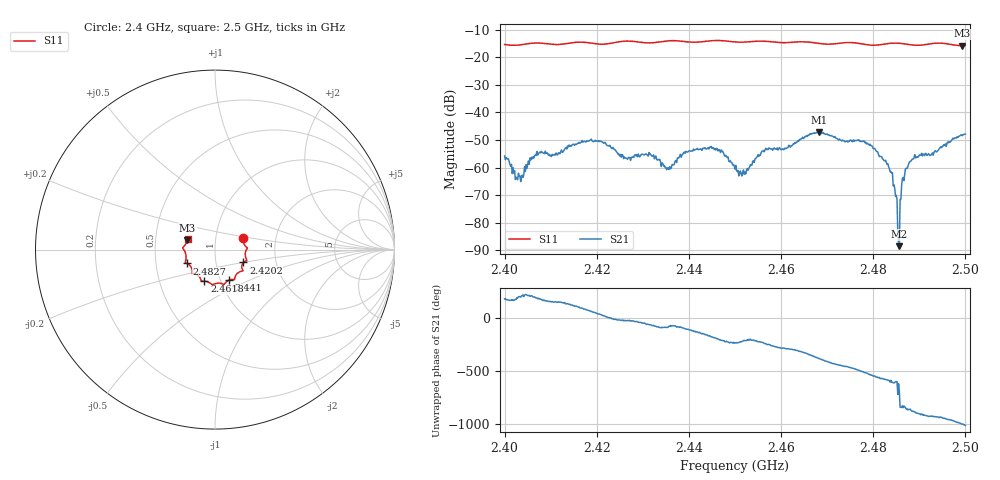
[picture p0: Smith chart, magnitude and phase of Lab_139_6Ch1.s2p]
# Hz S RI R 50
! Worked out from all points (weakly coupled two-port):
!   601 points, 2.4 GHz to 2.5 GHz, reference 50 ohm
!   highest |S21| = -47.11 dB at 2.4683 GHz (marker M1); lowest = -88.5 dB at 2.4857 GHz (marker M2)
!   lowest |S11| = -15.8 dB at 2.4993 GHz (marker M3), VSWR 1.39, Z = 36.5 + j3.84 ohm
!   |S11| at or under -10 dB: start of sweep to end of sweep
!   S12 and S22 are empty: the file has one direction only
!   S11 on the Smith chart (normalised r, x): 2.4 GHz: 1.36, +0.18; 2.4202 GHz: 1.36, -0.20; 2.441 GHz: 1.10, -0.39; 2.4618 GHz: 0.84, -0.30; 2.4827 GHz: 0.72, -0.12; 2.5 GHz: 0.73, +0.09
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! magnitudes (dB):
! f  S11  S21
! 2.4 GHz  -15.4  -55.8
! 2.4032 GHz  -15.6  -63.2
! 2.4075 GHz  -14.9  -54.7
! 2.4167 GHz  -14.5  -50.8
! 2.4202 GHz  -15.2  -50.4
! 2.4333 GHz  -14.5  -57.0
! 2.4357 GHz  -14.0  -60.7
! 2.441 GHz  -14.6  -53.3
! 2.4465 GHz  -13.9  -53.5
! 2.45 GHz  -14.5  -60.6
! 2.4518 GHz  -14.5  -60.9
! 2.4618 GHz  -14.6  -52.1
! 2.4667 GHz  -14.6  -47.7
! 2.4683 GHz  -15.0  -47.1
! 2.4782 GHz  -15.3  -51.0
! 2.4827 GHz  -15.2  -57.4
! 2.4833 GHz  -15.0  -59.6
! 2.4857 GHz  -14.9  -88.5
! 2.4867 GHz  -15.1  -64.7
! 2.4885 GHz  -15.6  -56.9
! 2.4993 GHz  -15.8  -48.4
! 2.5 GHz  -15.7  -47.9
